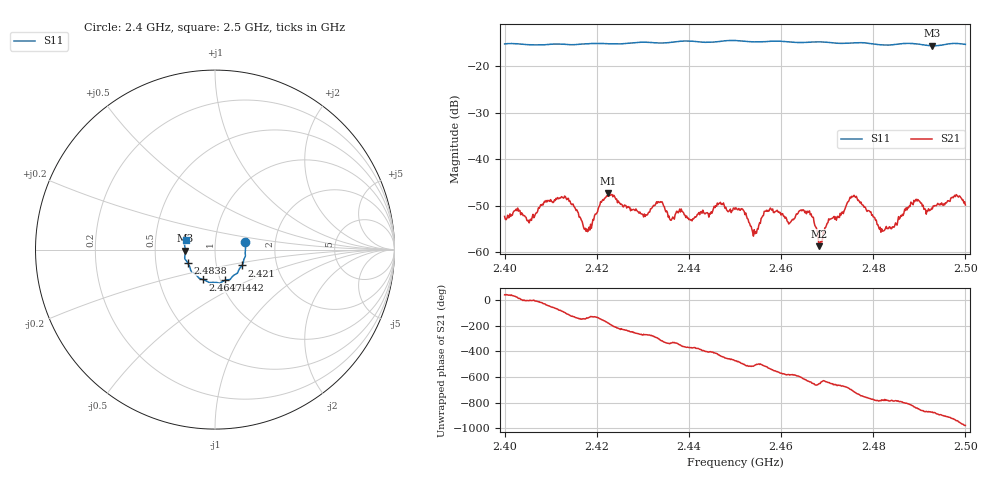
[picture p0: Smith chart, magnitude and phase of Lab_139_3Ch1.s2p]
# Hz S RI R
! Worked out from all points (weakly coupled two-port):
!   601 points, 2.4 GHz to 2.5 GHz, reference 50 ohm
!   highest |S21| = -47.35 dB at 2.4225 GHz (marker M1); lowest = -58.7 dB at 2.4683 GHz (marker M2)
!   lowest |S11| = -15.6 dB at 2.4928 GHz (marker M3), VSWR 1.40, Z = 35.8 - j0.384 ohm
!   |S11| at or under -10 dB: start of sweep to end of sweep
!   S12 and S22 are empty: the file has one direction only
!   S11 on the Smith chart (normalised r, x): 2.4 GHz: 1.40, +0.12; 2.421 GHz: 1.33, -0.24; 2.4442 GHz: 1.05, -0.37; 2.4647 GHz: 0.83, -0.29; 2.4838 GHz: 0.73, -0.11; 2.5 GHz: 0.72, +0.08
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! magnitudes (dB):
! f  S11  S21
! 2.4 GHz  -15.2  -52.3
! 2.4128 GHz  -15.3  -48.4
! 2.4167 GHz  -15.3  -53.1
! 2.4185 GHz  -15.2  -55.2
! 2.421 GHz  -15.1  -49.2
! 2.4225 GHz  -15.2  -47.3
! 2.4305 GHz  -14.9  -52.3
! 2.4333 GHz  -15.0  -49.1
! 2.4363 GHz  -14.9  -52.8
! 2.4442 GHz  -14.9  -51.7
! 2.45 GHz  -14.5  -50.8
! 2.4542 GHz  -14.8  -55.2
! 2.4572 GHz  -14.7  -51.0
! 2.4647 GHz  -14.9  -50.9
! 2.4667 GHz  -14.8  -52.3
! 2.4683 GHz  -14.8  -58.7
! 2.4755 GHz  -15.0  -48.1
! 2.4833 GHz  -15.5  -54.9
! 2.4838 GHz  -15.4  -54.9
! 2.4893 GHz  -15.2  -48.6
! 2.4928 GHz  -15.6  -50.7
! 2.5 GHz  -15.3  -49.8
